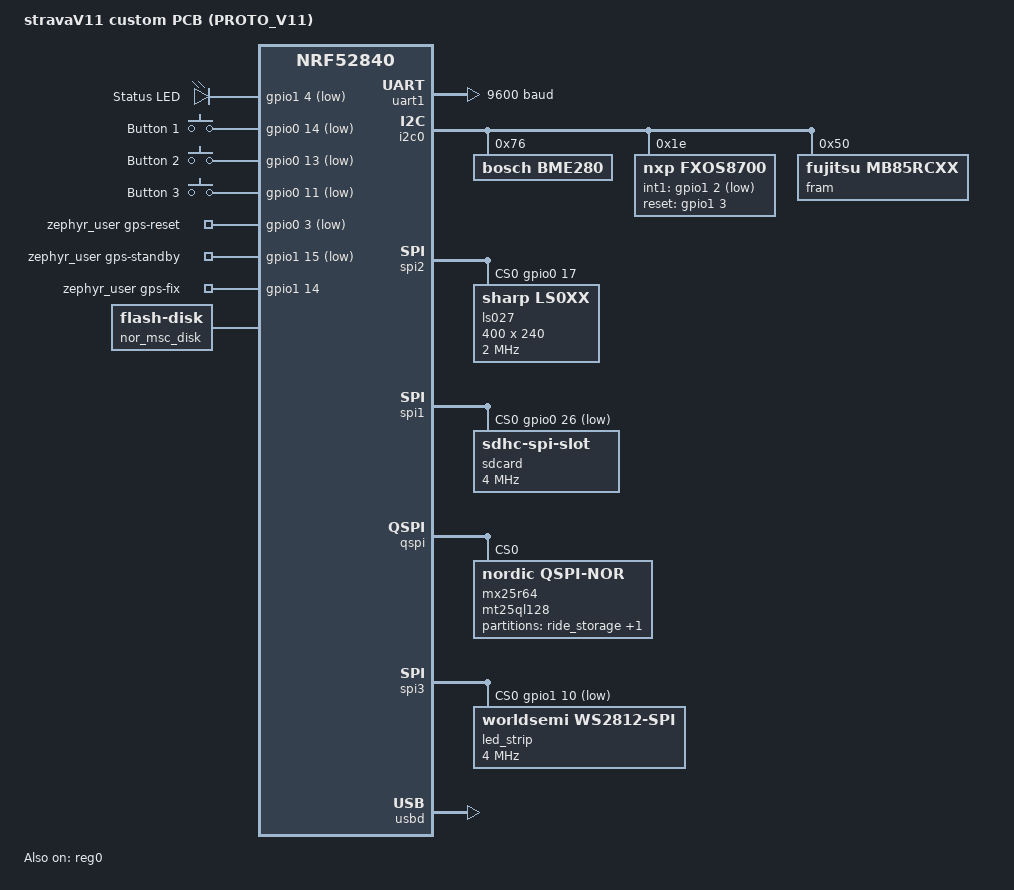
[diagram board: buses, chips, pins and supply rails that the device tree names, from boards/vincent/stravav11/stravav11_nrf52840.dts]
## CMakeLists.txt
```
cmake_minimum_required(VERSION 3.20.0)

# Phase 11: the real custom PCB's board definition lives under boards/ in
# this app (boards/vincent/stravav11/) -- add it to BOARD_ROOT so
# `-b stravav11/nrf52840` resolves, alongside the built-in nrf52840dk board
# still used for DK bring-up.
list(APPEND BOARD_ROOT ${CMAKE_CURRENT_SOURCE_DIR})

# sdk-ant is a license-gated vendor SDK, not in our west manifest -- see
# stravaV11_ant/CMakeLists.txt and CLAUDE.md for why ZEPHYR_EXTRA_MODULES
# rather than a manifest import. Registering the module costs nothing by
# itself (module Kconfig/CMake glue, not the stack); ANT_ENABLED below is
# what actually decides whether any of it links in.
list(APPEND ZEPHYR_EXTRA_MODULES ${CMAKE_CURRENT_SOURCE_DIR}/../ant)

# ANT+ feature toggle (2026-09-11): measured (see git log for the exact
# per-file breakdown) at ~50KB of flash -- sdk-ant's own precompiled stack
# (modules/ant's libant.a) alone is ~34KB of that, plus this app's
# ant_demo/hrm_demo/bsc_demo/fec_demo/ant_dm_demo and the ANT+ profile
# libraries. Real headroom worth making optional the same way
# STRAVA_SEGMENTS_ENABLED already is below, for exactly the same reason:
# this board's flash partition margin is thin enough that a single build
# needing more room (a debug feature, a future Lezyne addition) can need
# to trade it against ANT+ rather than trim core app code. Defaults OFF
# -- this does NOT reverse CLAUDE.md's project-wide "ANT+ is kept, not
# dropped for BLE-only" decision, which is about the project's shipped
# firmware; this is a per-build toggle for when flash headroom matters
# more than having ANT+ in that particular build. Pass -DANT_ENABLED=ON
# to build ANT+/HRM/BSC/FEC/the ANT+ device-manager back in.
option(ANT_ENABLED "Compile in ANT+ (ant_demo/hrm_demo/bsc_demo/fec_demo/ant_dm_demo, and sdk-ant's own precompiled stack)" OFF)

if(ANT_ENABLED)
  # Real ANT+ license key: sdk-ant reads it as the Kconfig string
  # CONFIG_ANT_LICENSE_KEY (ant/init/ant_init.c's ant_stack_init() call), not
  # from a header define -- so the repo-root ANT_license.h (gitignored,
  # credential-like material -- see .gitignore) can't be #included anywhere
  # to take effect. Instead, extract the key string from it here and hand it
  # to Kconfig via a generated fragment on EXTRA_CONF_FILE, which must be set
  # before find_package(Zephyr) below. If the header is missing, this
  # fragment's own CONFIG_ANT_EVALUATION_KEY=y fallback applies instead --
  # so a checkout without the user's personal key still builds ANT+ in,
  # just against the public evaluation key. CONFIG_ANT itself (and its
  # HRM/BSC/KEY_MANAGER/SEARCH_CONFIG/CHANNEL_CONFIG dependents, formerly
  # plain prj.conf lines) lives in this same generated fragment now, since
  # they only make sense to set at all when ANT_ENABLED.
  set(ant_kconfig_conf ${CMAKE_BINARY_DIR}/ant_enabled_generated.conf)
  file(WRITE ${ant_kconfig_conf}
    "CONFIG_ANT=y\n"
    "CONFIG_ANT_CHANNEL_CONFIG=y\n"
    "CONFIG_ANT_HRM=y\n"
    "CONFIG_ANT_BSC=y\n"
    "CONFIG_ANT_KEY_MANAGER=y\n"
    "CONFIG_ANT_SEARCH_CONFIG=y\n")

  set(ant_license_header ${CMAKE_CURRENT_SOURCE_DIR}/../../ANT_license.h)
  if(EXISTS ${ant_license_header})
    file(READ ${ant_license_header} ant_license_header_contents)
    string(REGEX MATCH "ANT_LICENSE_KEY[ \t]+\"([^\"]+)\"" _ "${ant_license_header_contents}")
    if(CMAKE_MATCH_1)
      file(APPEND ${ant_kconfig_conf} "CONFIG_ANT_LICENSE_KEY=\"${CMAKE_MATCH_1}\"\n")
    else()
      message(WARNING "ANT_license.h found but no ANT_LICENSE_KEY \"...\" define in it -- falling back to the ANT_EVALUATION_KEY default")
      file(APPEND ${ant_kconfig_conf} "CONFIG_ANT_EVALUATION_KEY=y\n")
    endif()
  else()
    message(WARNING "ANT_license.h not found at repo root -- falling back to the ANT_EVALUATION_KEY default (non-commercial use only)")
    file(APPEND ${ant_kconfig_conf} "CONFIG_ANT_EVALUATION_KEY=y\n")
  endif()

  set(EXTRA_CONF_FILE ${ant_kconfig_conf})
endif()

find_package(Zephyr REQUIRED HINTS $ENV{ZEPHYR_BASE})
project(stravav11_fw)

if(ANT_ENABLED)
  add_definitions(-DANT_ENABLED)
endif()

# Segments/live-race feature (2026-09-11): live-segment racing was already
# descoped by user decision (2026-09-07, see CLAUDE.md's port-plan
# paragraph) -- SegmentManager.cpp/segMngr never gets populated with real
# data anywhere in this port, so its actual runtime behavior is unaffected
# either way. This option makes that descoping compile-time-real instead of
# just "not pursued yet": OFF drops Segment.cpp/SegmentManager.cpp entirely
# and compiles out every segment-drawing method in VueCRS/VuePRC (see
# STRAVA_SEGMENTS_ENABLED's #ifdef guards there and in vue_globals.cpp) --
# real flash savings when a build is tight on space (see
# pm_static_stravav11_nrf52840.yml's own notes on this board's thin margin),
# not just dead-code-eliminated already by the linker (VueCRS/VuePRC's
# segment methods are reachable via `this->afficheSegment(...)` from other
# member functions of the same class, so --gc-sections can't drop them on
# its own the way it drops a genuinely uncalled free function). Defaults
# OFF (2026-09-11, changed from an initial ON default the same day) --
# this feature is already descoped project-wide, and building it out by
# default is exactly what unblocks the Lezyne feature's flash budget (see
# CLAUDE.md's own note) without needing every build invocation to
# remember the flag. Pass -DSTRAVA_SEGMENTS_ENABLED=ON to build it back in.
option(STRAVA_SEGMENTS_ENABLED "Compile in the segments/live-race feature (Segment geometry, SegmentManager, VueCRS/VuePRC segment screens)" OFF)
if(STRAVA_SEGMENTS_ENABLED)
  add_definitions(-DSTRAVA_SEGMENTS_ENABLED)
endif()

# Phase 7: AdafruitGFX/WString reuse the same -DTDD bridge as stravaV11_app
# (see that app's CMakeLists.txt) -- their #ifndef TDD branches use
# AVR-only builtins (__isnanf etc.) that don't exist on this toolchain.
add_definitions(-DTDD)

target_include_directories(app PRIVATE
  lib
  lib/TDD
  lib/TDD/nordic
  lib/TDD/scheduler
  lib/libraries/AdafruitGFX
  lib/libraries/AdafruitGFX/Fonts
  lib/libraries/utils
  lib/libraries/TinyGPSPlus
  lib/source
  lib/source/model
  lib/source/sensors
  lib/source/vue
  lib/source/maps
  lib/source/display
  lib/source/parsers
  lib/source/routes
  lib/libraries/komoot
  lib/libraries/fitLib
  lib/lezyne
  adapters
)

target_sources(app PRIVATE
  src/main.c
  src/ble_demo.c
  src/stc3100_demo.c
  src/smp_demo.c
  src/gfx_demo.cpp
  src/gps_demo.cpp
  src/sensor_screen_demo.c
  src/task_demo.c
  src/power_demo.c
  src/poll_demo.c
  src/usbd_init.c
  src/usb_demo.c
  src/cmd_console.c
  src/sd_format.c
  src/map_demo.c
  src/map_screen_demo.c
  src/sd_stress_demo.c
  src/notifications_demo.c
  src/settings_demo.cpp
  src/model_glue.c
  src/vue_globals.cpp
  src/vue_demo.cpp
  lib/source/vue/MenuObjects.cpp
  lib/source/vue/Menuable.cpp
  lib/source/vue/Screenutils.cpp
  lib/source/vue/VueDebug.cpp
  lib/source/vue/VueLap.cpp
  lib/source/vue/VueGPS.cpp
  lib/source/vue/VueFEC.cpp
  lib/source/vue/VuePRC.cpp
  lib/source/vue/VueCRS.cpp
  lib/source/vue/Vue.cpp
  lib/libraries/komoot/komoot_nav.c
  lib/source/routes/Points.cpp
  lib/source/routes/Vecteur.cpp
  lib/source/routes/ListePoints.cpp
  lib/source/routes/Parcours.cpp
  src/menu_content.cpp
  src/debug_screen_data.cpp
  src/lap_screen_data.cpp
  src/power_provider.c
  src/hrm_provider.c
  src/cadence_provider.c
  lib/source/g_structs.c
  lib/source/model/PowerZone.cpp
  lib/source/model/RRZone.cpp
  lib/source/model/SufferScore.cpp
  lib/bt_cp_client.c
  lib/ant_device_manager.c
  lib/stc3100.c
  lib/source/maps/map_tile.c
  lib/source/maps/map_render.cpp
  lib/source/display/Zoom.cpp
  lib/source/display/notifications.c
  lib/libraries/AdafruitGFX/Adafruit_GFX.cpp
  lib/libraries/AdafruitGFX/Print.cpp
  lib/libraries/utils/WString.cpp
  lib/libraries/utils/utils.c
  lib/libraries/TinyGPSPlus/TinyGPS++.cpp
  lib/source/model/Locator.cpp
  lib/source/model/UserSettings.cpp
  lib/source/vue/ZephyrGFX.cpp
  adapters/gps_mgmt_stub.cpp
  adapters/millis_zephyr.c
  adapters/drv_ws2812.c
  adapters/fram_zephyr.c
  lib/libraries/fitLib/fit.c
  lib/libraries/fitLib/fit_crc.c
  lib/libraries/fitLib/fit_example.c
  src/ride_recorder.c
  src/lezyne_ble.c
  src/lezyne_handler.c
  src/gps_sim_demo.c
  src/gps_uart_demo.c
)

if(STRAVA_SEGMENTS_ENABLED)
  target_sources(app PRIVATE
    lib/source/routes/Segment.cpp
    lib/source/display/SegmentManager.cpp
  )
endif()

if(ANT_ENABLED)
  target_sources(app PRIVATE
    src/ant_demo.c
    src/hrm_demo.c
    src/bsc_demo.c
    src/fec_demo.c
    src/ant_dm_demo.c
    lib/ant_fec.c
  )
else()
  # model_glue.c/ride_recorder.c/menu_content.cpp call into
  # hrm_demo.h/bsc_demo.h/fec_demo.h/ant_dm_demo.h's API unconditionally
  # (they're the live-sensor-data bridge, not ANT+-demo-specific code) --
  # this provides those symbols with real ANT+ compiled out. See its own
  # top comment.
  target_sources(app PRIVATE src/ant_stubs.c)
endif()
```

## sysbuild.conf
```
# Phase 10: replaces stravaV10's dfu/ (a full nRF5 SDK "secure DFU
# bootloader" -- nrf_bootloader/nrf_dfu, MBR-based, USB-triggered by
# holding a button at power-on) with MCUboot, the standard cross-vendor
# Zephyr/NCS bootloader already checked out in this workspace at
# bootloader/mcuboot.
#
# This is mainline Zephyr's own sysbuild MCUboot integration
# (zephyr/share/sysbuild/images/bootloader/Kconfig), not NCS's older
# Partition Manager-based path -- it uses devicetree fixed-partitions for
# the slot layout, so it doesn't hit the PM/flash-disk affiliation issue
# from Phase 4 (that was specific to disk_access's flashdisk driver, not
# to boot partitioning, which is a different and well-supported PM/DT use
# case either way).
SB_CONFIG_BOOTLOADER_MCUBOOT=y

# Project-owned signing key, not MCUboot's own upstream sample key
# (bootloader/mcuboot/root-ec-p256.pem, the default this repo built
# against through the first real DFU validation in Phase 10). That
# sample key's *private* half is checked into the public mcuboot repo --
# fine to prove the DFU mechanics work, but it means anyone could sign an
# image this board's MCUboot would accept as genuine. Generated once via:
#   python3 bootloader/mcuboot/scripts/imgtool.py keygen \
#     -k /home/vincent/Github/StravaV11/mcuboot_signing_key.pem -t ecdsa-p256
# Gitignored at the repo root -- see .gitignore's comment there and
# COMMANDS.md's "Signing key" section for regeneration/rotation notes.
# BOOT_SIGNATURE_TYPE defaults to ECDSA_P256 already (matches this key).
SB_CONFIG_BOOT_SIGNATURE_KEY_FILE="/home/vincent/Github/StravaV11/mcuboot_signing_key.pem"
```

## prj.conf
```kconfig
# Phase 2: DK driver bring-up. GPIO is on by default; this app also needs:
CONFIG_DISPLAY=y
CONFIG_I2C=y
CONFIG_LOG=y

# Phase 3: sensors (bme280, fxos8700) and FRAM-equivalent settings storage.
CONFIG_SENSOR=y
CONFIG_EEPROM=y

# Phase 4: storage. SD-over-SPI disk_access (no card present, see overlay)
# and the DK's real on-board QSPI NOR flash via the direct flash API (see
# CLAUDE.md for why this isn't layered under disk_access/FAT here).
CONFIG_DISK_ACCESS=y
CONFIG_FLASH=y

# Phase 11 validation: flash_read_jedec_id() (to confirm the real external
# NOR chip's identity) is gated behind this -- nrf_qspi_nor.c's
# read_jedec_id API entry only compiles in with CONFIG_FLASH_JESD216_API=y.
CONFIG_FLASH_JESD216_API=y

# Maps-feasibility step 1 (docs/maps_feasibility.md): FAT filesystem on the
# SD card, not just raw disk_access sectors. CONFIG_FS_FATFS_MOUNT_MKFS
# (Kconfig default y) means fs_mount() auto-formats a card with no
# existing FAT filesystem instead of just failing.
CONFIG_FILE_SYSTEM=y
CONFIG_FAT_FILESYSTEM_ELM=y

# sd_format.c's deliberate "FORMAT SD" command calls fs_mkfs() directly
# (distinct from the CONFIG_FS_FATFS_MOUNT_MKFS auto-format-on-invalid-
# boot-sector behavior above) -- fs_mkfs() itself is gated behind this
# separate Kconfig, off by default.
CONFIG_FILE_SYSTEM_MKFS=y

# Long filenames: 8.3-only tripped up the first version of this test (see
# CLAUDE.md -- fs_open() on an 11-char name failed with FR_INVALID_NAME,
# translated to -ENOENT, not an obvious length error). Future map-tile
# filenames don't need to be 8.3-constrained now. Default LFN mode (BSS,
# static working buffer) is fine -- this app has no concurrent FS access
# from multiple threads yet, so the "not thread-safe" caveat doesn't apply.
CONFIG_FS_FATFS_LFN=y

# Phase 5: BLE central (Cycling Power Service client), no pairing/bonding
# needed -- cycling power meters are normally open GATT servers.
CONFIG_BT=y
CONFIG_BT_CENTRAL=y
CONFIG_BT_GATT_CLIENT=y
CONFIG_BT_SCAN=y
CONFIG_BT_SCAN_FILTER_ENABLE=y
# 2 filters now: Cycling Power Service (bt_cp_client) and Heart Rate Service
# (bt_hrs_client, below) -- was 1 when only CPS existed.
CONFIG_BT_SCAN_UUID_CNT=2
CONFIG_BT_GATT_DM=y
CONFIG_BT_DEVICE_NAME="stravaV11"

# Heart Rate Service client: unlike Cycling Power (no ready-made NCS
# library, hence the hand-written bt_cp_client), NCS ships bt_hrs_client
# directly (nrf/subsys/bluetooth/services/hrs_client.c) -- modeled on the
# exact same nrf/samples/bluetooth/central_and_peripheral_hrs sample
# bt_cp_client itself followed, so no porting needed here at all, just
# enabling and wiring up in ble_demo.c. Validates the real HRM strap's BLE
# side (it broadcasts both ANT+ and BLE) alongside hrm_demo.c's ANT+ path.
CONFIG_BT_HRS_CLIENT=y

# MCUmgr/SMP over BLE: a real DFU update cycle (MCUboot itself has booted the
# signed app correctly since Phase 10, but no actual over-the-air update was
# ever attempted until now). Following the closest upstream reference,
# zephyr/samples/subsys/mgmt/mcumgr/smp_svr's prj.conf + its overlay-bt.conf,
# trimmed to just the core img/os groups this port's smp_demo.c actually
# needs (that sample's overlay-bt.conf also enables a shell transport,
# LittleFS, stats, and a storage-erase command none of which are wanted
# here). CONFIG_BT_PERIPHERAL is new -- this device has been BLE-central-only
# since Phase 5 (scanning for CP/HRS peripherals); MCUmgr's BT transport
# needs the peripheral role too (advertise + accept an inbound connection
# from the mcumgr host), which is why ble_demo.c's connected() callback
# needed a role check added (see its own comment) -- without it, an inbound
# SMP client connection would have wrongly run the central-role GATT
# discovery-manager logic meant for OUR OWN outbound connections to CP/HRS
# peripherals.
CONFIG_NET_BUF=y
CONFIG_ZCBOR=y
CONFIG_CRC=y
CONFIG_MCUMGR=y
CONFIG_STREAM_FLASH=y
CONFIG_FLASH_MAP=y
CONFIG_FLASH=y
CONFIG_IMG_MANAGER=y
CONFIG_MCUMGR_GRP_IMG=y
CONFIG_MCUMGR_GRP_OS=y
CONFIG_SYSTEM_WORKQUEUE_STACK_SIZE=2304
CONFIG_MAIN_STACK_SIZE=2176

CONFIG_BT_PERIPHERAL=y
CONFIG_BT_L2CAP_TX_MTU=498
CONFIG_BT_BUF_ACL_RX_SIZE=502
CONFIG_BT_BUF_ACL_TX_SIZE=502
CONFIG_BT_CTLR_DATA_LENGTH_MAX=251
CONFIG_MCUMGR_TRANSPORT_BT=y
CONFIG_MCUMGR_TRANSPORT_BT_CONN_PARAM_CONTROL=y

# Found on real hardware: without this, an actual image upload (large,
# multi-fragment SMP requests, unlike the tiny echo/image-list requests
# that worked fine without it) never got a response from the firmware.
# smp_svr's overlay-bt.conf enables this by default; trimmed out of this
# port's initial minimal subset, which was wrong -- upload needs it.
CONFIG_MCUMGR_TRANSPORT_BT_REASSEMBLY=y
CONFIG_MCUMGR_TRANSPORT_NETBUF_SIZE=2475
CONFIG_MCUMGR_TRANSPORT_WORKQUEUE_STACK_SIZE=4608

# Found on real hardware: even with smp_demo.c's BT_LE_ADV_OPT_USE_IDENTITY,
# bt_le_adv_start() still failed with -EACCES (err -13) while the existing
# central-role scan (ble_demo.c) was active. Root cause, traced into
# zephyr/subsys/bluetooth/host/id.c: with CONFIG_BT_PRIVACY off (this
# project's default) and this symbol unset, Zephyr's own bt_id_set_scan_own_addr()
# has the scanner generate and use an ephemeral NRPA, not the device's
# identity address -- so when the advertiser (asking for the identity
# address via USE_IDENTITY) tries to set the random address, it doesn't
# match the scanner's currently-set NRPA, and the Bluetooth Core Spec
# forbids the "LE Set Random Address" HCI command entirely while scanning
# is active (Vol 4, Part E 7.8.4), regardless of the value being set.
# Making the scanner ALSO use the identity address means both roles want
# the exact same value, so whichever starts second hits Zephyr's own
# already-set-to-this-value early return instead of issuing that HCI
# command at all -- no actual identity/privacy trade-off for this project,
# since CONFIG_BT_PRIVACY was already off.
CONFIG_BT_SCAN_WITH_IDENTITY=y

# Lezyne feature (2026-09-11, see CLAUDE.md/todo.md): a THIRD concurrent BLE
# role -- peripheral, advertising as "LE GPS 12" (not CONFIG_BT_DEVICE_NAME)
# so the real Lezyne "GPS Ally" phone app can find it. lezyne_ble.c defines
# its own hand-rolled GATT service using the REAL Lezyne service/
# characteristic UUIDs (decompiled from the real GPS Ally app -- see
# Lezyne_app.md/LezyneCycleComputerDevice.txt at the repo root) instead of
# Zephyr's canned NUS service; an earlier version used NUS as an unverified
# guess at the real transport, and GPS Ally's own onServicesDiscovered()
# disconnects immediately if it doesn't find that exact service UUID, so
# CONFIG_BT_NUS is no longer needed here. lezyne_ble.c owns the device's
# one shared legacy advertiser (folded in smp_demo.c's own advertising
# too, see that file's comment -- a first version tried a second,
# independent CONFIG_BT_EXT_ADV advertising set instead, which measurably
# overflowed this board's thin flash partition margin on real hardware).
# CONFIG_BT_MAX_CONN bumped from the default 1 to 2: one central connection
# (ble_demo.c, to a CP/HRS sensor) and one peripheral connection (this
# file's shared advertiser -- either a Lezyne phone or an mcumgr/SMP DFU
# host, never both at once since there's only one inbound peripheral
# connection tracked).
CONFIG_BT_MAX_CONN=2

# Found on real hardware (2026-09-11): a real GPS Ally connection sent a
# RequestFitFileList command right after connecting, and the board
# stack-overflowed and halted (ZEPHYR FATAL ERROR 2, MPU FAULT) about a
# second later -- lezyne_handler.c's handle_file_list() (fs_mount +
# fs_opendir/fs_readdir over FatFS, and handle_file_download_start()/
# handle_file_delete() do similar work) ran synchronously inside
# lez_write_rx()'s GATT write callback, i.e. Zephyr's own
# CONFIG_BT_RX_STACK_SIZE thread (default 1200 bytes -- nowhere near
# enough). First fix here was bumping this to 4096, which stopped that
# exact crash, but a second real-hardware session then showed symptoms
# consistent with a stack overflow elsewhere (spurious usbd_ch9 log
# lines and an unrelated central-role BLE disconnect, right after
# another Lezyne SD operation, no real USB host action to explain them)
# -- 4096 being "enough" was never actually verified against the true
# worst case, and this thread is shared with every other Bluetooth host
# callback (central-role scanning included), the wrong place to gamble.
# lezyne_handler.c now moves all of that work onto its own dedicated
# thread with its own stack instead (see its LEZ_CMD_STACK_SIZE comment),
# so this can safely go back to Zephyr's own default -- left unset
# (rather than kept bumped "just in case") because both flash and RAM
# are tight enough here that free insurance isn't actually free.

# Phase 5: ANT+ combined with the above BLE config -- the documented
# multiprotocol path (nrf/samples equivalent: ant/samples/ble_ant_app_hrm).
# Both sit on MPSL; whichever of ant_init()/bt_enable() runs first brings
# MPSL up for the other, matching that sample's init order (ant_init()
# before bt_enable() in main.c) -- no CONFIG_ANT_SDC_INIT needed. When
# ANT+ is compiled out (ANT_ENABLED=OFF, the CMakeLists.txt default as of
# 2026-09-11 -- see its own comment for the ~50KB flash motivation),
# bt_enable() alone brings MPSL up fine, the normal case for any BT-only
# build.
#
# CONFIG_ANT/CONFIG_ANT_CHANNEL_CONFIG/CONFIG_ANT_EVALUATION_KEY/
# CONFIG_ANT_HRM/CONFIG_ANT_BSC/CONFIG_ANT_KEY_MANAGER/
# CONFIG_ANT_SEARCH_CONFIG used to be plain lines here; they only make
# sense to set when ANT_ENABLED, so CMakeLists.txt now generates them
# into an EXTRA_CONF_FILE fragment instead (also where the real
# ANT_license.h key substitution already happened).

# Phase 7: UI graphics (Adafruit_GFX ported to draw into ZephyrGFX's buffer,
# pushed via display_write()). No STL containers used here, but the TDD
# wrapper headers it drags in (segger_wrapper_tdd.h) need <cstdio>, which
# Zephyr's minimal C++ lib (-nostdinc++) doesn't provide -- same fix as
# stravaV11_app.
CONFIG_CPP=y
CONFIG_STD_CPP17=y
CONFIG_REQUIRES_FULL_LIBCPP=y

# Phase 8: task_manager -> Zephyr threads + k_event replacement.
CONFIG_EVENTS=y

# WS2812 status LED (stravaV10's drivers/drv_ws2812.c + notifications.c,
# see the board devicetree's spi3/ws2812 nodes for why this is SPI-backed
# rather than PWM -- Zephyr has no PWM WS2812 driver).
CONFIG_SPI=y
CONFIG_LED_STRIP=y

# Phase 9: USB CDC-ACM (new USB device stack). Doesn't touch the existing
# UART console (still the J-Link VCOM) -- this is a second, independent
# serial port over the DK's own USB peripheral.
CONFIG_USB_DEVICE_STACK_NEXT=y
CONFIG_USBD_CDC_ACM_CLASS=y
CONFIG_SERIAL=y
CONFIG_UART_LINE_CTRL=y

# USB Mass Storage: exposes the SD card (disk_access name "SD", already
# validated by sd_fat_demo()/map_screen_demo/sd_stress_demo) as a normal USB
# drive, composited alongside the CDC-ACM port above.
CONFIG_USBD_MSC_CLASS=y
# 2 LUNs: SD (above) and the raw QSPI NOR disk below.
CONFIG_USBD_MSC_LUNS_PER_INSTANCE=2
# Default (512) is smaller than NOR's 4096-byte sector size --
# usbd_msc_scsi.c's update_disk_info() silently rejects any LUN whose
# sector_size exceeds this (status = -ENOMEM), which every SCSI
# TEST_UNIT_READY/READ_CAPACITY call then reports to the host as "medium
# not present" -- confirmed on real hardware as a real, zero-byte "Raw NOR
# Flash" drive (lsblk: 0B) despite disk_access itself reporting the
# correct 16777216-byte size the whole time. This buffer is shared across
# all LUNs on the one MSC instance (SD's 512-byte sectors fit fine either
# way), so raising it doesn't need a per-LUN config.
CONFIG_USBD_MSC_SCSI_BUFFER_SIZE=4096

# QSPI NOR as a second, unformatted MSC LUN (closes the Phase 4 gap --
# raw data, not a filesystem, so no CONFIG_FILE_SYSTEM/FAT layered on top
# unlike the SD card). Needs the "nordic,pm-ext-flash" chosen entry +
# pm_static_<board>.yml partition (region: external_flash, affiliation:
# disk) -- see boards/*/*.dts|overlay and pm_static_*.yml for the full
# story of why both pieces are required together.
CONFIG_DISK_DRIVER_FLASH=y

# LS0XX driver software-VCOM thread priority is fine at its Kconfig default.
```

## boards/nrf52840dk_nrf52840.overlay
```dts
/*
 * Phase 2 DK bring-up wiring: the LS027 isn't attached to this DK (see
 * CLAUDE.md) -- this puts it on the Arduino-header SPI bus (spi3) at
 * arbitrary pins, purely so the sharp,ls0xx driver + display subsystem
 * builds, initializes, and runs its SPI transactions without error. Real
 * pin assignments come back when the custom PCB's own board definition is
 * written (a later phase); nothing here should be read as the final wiring.
 *
 * No VCOM-related properties: on the real PCB, VCOM is toggled by a
 * hardware circuit, not software at all (confirmed with the user during
 * Phase 11) -- ls0xx.c gates all of its VCOM-toggling code behind
 * DT_INST_NODE_HAS_PROP(0, extcomin_gpios), so omitting both that and
 * serial-vcom-inversion (which also doesn't exist in the driver's
 * devicetree binding at the sdk-nrf v3.2.4 this workspace is now pinned
 * to -- see CLAUDE.md Phase 11) means the driver only ever does plain SPI
 * content writes here, matching the real board's node.
 */

#include <zephyr/dt-bindings/gpio/arduino-header-r3.h>
#include <zephyr/dt-bindings/led/led.h>

/ {
	chosen {
		zephyr,display = &ls027;
		/* Tells Partition Manager mx25r64 is a valid "external_flash"
		 * region -- see the raw-NOR-disk note further down, near the
		 * mx25r64 node itself. */
		nordic,pm-ext-flash = &mx25r64;
	};
};

/*
 * Phase 9: USB CDC-ACM. Unlike everything else in this file, &zephyr_udc0
 * is the chip's own on-die USB peripheral (already enabled by the DK's
 * default devicetree) -- real hardware, not a placeholder. Whether it's
 * actually host-visible depends on a physical USB cable being plugged into
 * the DK's own USB connector (separate from the J-Link USB used for
 * flashing/console), which is outside what this session could do itself.
 */
&zephyr_udc0 {
	cdc_acm_uart0: cdc_acm_uart0 {
		compatible = "zephyr,cdc-acm-uart";
		label = "stravaV11 CDC-ACM";
	};
};

&arduino_spi {
	status = "okay";
	/* index 0 -> ls027 (D10), index 1 -> SD card (D9), index 2 -> WS2812
	 * status LED (D8) -- all placeholder pins except the WS2812 CS,
	 * which is placeholder by design even on the real board (see the
	 * spi3/ws2812 note in the custom board's own .dts: the LED only
	 * reads MOSI, CS is never actually wired to it there either). See
	 * the Phase 4 storage note further down for ls027/SD. */
	cs-gpios = <&arduino_header ARDUINO_HEADER_R3_D10 GPIO_ACTIVE_HIGH>,
		   <&arduino_header ARDUINO_HEADER_R3_D9 GPIO_ACTIVE_LOW>,
		   <&arduino_header ARDUINO_HEADER_R3_D8 GPIO_ACTIVE_LOW>;

	ls027: ls0xx@0 {
		compatible = "sharp,ls0xx";
		reg = <0>;
		spi-max-frequency = <2000000>;
		width = <400>;
		height = <240>;
	};

	/*
	 * Phase 4 storage, SD card half: stravaV10 talks to a real SD card
	 * over SPI (source/sd/diskio_sdc.c, the old nRF5 SDK's
	 * nrf_block_dev_sdc component). No card or slot is physically
	 * present on this DK, so -- same as the display -- this only proves
	 * the zephyr,sdhc-spi-slot driver initializes and reports a clean
	 * error rather than hanging; it can't be validated further until a
	 * card is actually inserted.
	 */
	sdcard: sdhc@1 {
		compatible = "zephyr,sdhc-spi-slot";
		reg = <1>;
		status = "okay";
		spi-max-frequency = <4000000>;

		sdmmc {
			compatible = "zephyr,sdmmc-disk";
			disk-name = "SD";
			status = "okay";
		};
	};

	/* WS2812 status LED (NEO_PIN on the real board) -- see
	 * stravaV11_fw/adapters/drv_ws2812.c and lib/source/display/
	 * notifications.c. Same spi-one-frame/spi-zero-frame/
	 * spi-max-frequency/color-mapping as the custom board's own node;
	 * this DK placeholder exists purely so the shared notifications_demo.c
	 * builds and runs cleanly here too, not because a real LED is wired up. */
	led_strip: ws2812@2 {
		compatible = "worldsemi,ws2812-spi";
		reg = <2>;
		spi-max-frequency = <4000000>;

		chain-length = <1>;
		color-mapping = <LED_COLOR_ID_GREEN LED_COLOR_ID_RED LED_COLOR_ID_BLUE>;
		spi-one-frame = <0x70>;
		spi-zero-frame = <0x40>;
	};
};

/ {
	aliases {
		led-strip = &led_strip;
	};
};

/*
 * Phase 6 GPS bring-up: stravaV10 talks to the GlobalTop GPS module over a
 * dedicated UART (source/sensors/GPSMGMT.cpp), starting at 9600 baud
 * (GPS_DEFAULT_SPEED_BAUD) before switching to 115200. arduino_serial
 * (uart1) is disabled by default on this DK (unlike arduino_i2c/spi), so it
 * needs enabling here. No GPS module is attached -- same placeholder
 * caveat as the rest of this file; this only proves the UART peripheral
 * itself works (TX completes, RX doesn't hang). GPS_R/GPS_S/FIX_PIN
 * (reset/standby/fix-detect GPIOs) aren't wired up yet -- deferred with the
 * rest of GPSMGMT's hardware layer, same reasoning as Model.cpp in Phase 1.
 */
&arduino_serial {
	status = "okay";
	current-speed = <9600>;
};

/*
 * Phase 3 sensor bring-up, same caveat as above: nothing is physically
 * attached to this DK, so these addresses/wiring are placeholders (matching
 * stravaV10's actual addresses, which is all that matters for now) purely so
 * each driver builds and its init path runs cleanly against a real I2C
 * controller. arduino_i2c (i2c0) is already enabled by the DK's own default
 * devicetree -- see stravaV11_fw/prj.conf and CLAUDE.md.
 */
&arduino_i2c {
	bme280: bme280@76 {
		/* Active barometer per stravaV10's parameters.h (BARO_TYPE
		 * bme280); same 0x76 address as ms5637.c uses -- the two are
		 * alternate BOM options, never populated together. */
		compatible = "bosch,bme280";
		reg = <0x76>;
	};

	fxos8700: fxos8700@1e {
		compatible = "nxp,fxos8700";
		reg = <0x1e>;
	};

	fram: mb85rc@50 {
		/* Matches stravaV10's source/sensors/fram.c addressing
		 * exactly: base address 0x50 with the top address bits
		 * folded into the low bits of the 7-bit I2C address --
		 * that's what address-width = 8 (bits) + size = 2048
		 * (2^11 addressable bytes) reproduces in this driver. */
		compatible = "fujitsu,mb85rcxx";
		reg = <0x50>;
		size = <2048>;
		address-width = <8>;
	};
};

/*
 * Phase 4 storage, QSPI flash half: unlike everything above, this DK has a
 * *real* on-board QSPI NOR flash chip (MX25R6435F, 64Mbit), already wired up
 * and enabled by the DK's own default devicetree (&qspi / mx25r64 in
 * nrf52840dk_nrf52840.dts) -- no overlay needed to reach it. stravaV10's own
 * external flash is a different chip (MT25QL128 over QSPI,
 * libraries/SST/mt25.c) but the same JEDEC SPI-NOR protocol family, so
 * exercising this one via the plain Zephyr flash API (see storage_demo() in
 * main.c) is a real, hardware-validated stand-in for that storage path.
 *
 * Originally tried layering a zephyr,flash-disk + FAT filesystem on top (to
 * mirror stravaV10's actual FatFs usage), same as the fs_sample sample does
 * for internal flash. That hit an NCS-specific wall: this workspace's
 * Partition Manager is unconditionally active for any app built here (its
 * Kconfig is described as "read-only, do not change" -- it isn't a toggle),
 * and flashdisk.c's build only works for partitions PM itself allocated and
 * tagged with "disk" affiliation metadata; a hand-written devicetree
 * fixed-partitions node isn't visible to that scan. Direct flash_erase/
 * write/read against mx25r64 sidesteps flashdisk.c entirely and still
 * proves the chip works -- kept below, unchanged.
 *
 * Resolved (raw-NOR-over-USB update): the chip holds raw data, not a
 * filesystem, so this exposes it as a second, unformatted USB MSC LUN
 * instead (see usb_demo.c) -- real fix needed *two* pieces together, not
 * the pm_static.yml alone: the "nordic,pm-ext-flash" chosen entry above
 * (so PM treats mx25r64 as an "external_flash" region at all) and the
 * pm_static_nrf52840dk_nrf52840.yml partition (region: external_flash,
 * affiliation: disk) that supplies the name, cache_size, sector_size and
 * read_only extra_params flashdisk.c's PM-affiliation code path reads.
 *
 * What that path does NOT get from pm_static.yml, despite being in the
 * "PM" branch: offset/size/area-id. Those come from
 * FIXED_PARTITION_OFFSET/SIZE/ID(n), which -- confirmed by reading
 * flash_map.h -- expand to DT_REG_ADDR/SIZE(DT_NODELABEL(n)), i.e. a
 * plain devicetree lookup, always, regardless of Partition Manager. `n`
 * is the affiliation macro's own uppercased partition-name token
 * (PM_FOREACH_AFFILIATED_TO_disk(fn) = fn(EXTERNAL_FLASH_DISK), confirmed
 * in the build's pm.config) -- so this devicetree node's *label* must be
 * that exact uppercase token for FIXED_PARTITION_SIZE to resolve at all.
 * First attempt used an arbitrary lowercase label + a tiny 0x1000
 * placeholder reg (reasoning: "PM supplies the real numbers") and built
 * clean but silently produced a real, zero-byte USB disk on real
 * hardware (lsblk: "0B") -- DT_NODELABEL of a non-matching label doesn't
 * error, it just resolves to nothing and DT_REG_SIZE of that is 0. Fixed
 * by matching both the label and the reg range to the pm_static.yml
 * partition exactly; the two must be kept in sync by hand since nothing
 * cross-checks them.
 */
&mx25r64 {
	partitions {
		compatible = "fixed-partitions";
		#address-cells = <1>;
		#size-cells = <1>;

		/* Label and reg MUST match pm_static_nrf52840dk_nrf52840.yml's
		 * external_flash_disk partition (address 0x0, size 0x800000)
		 * -- see the comment above for why. */
		EXTERNAL_FLASH_DISK: partition@0 {
			label = "external_flash_disk";
			reg = <0x0 0x800000>;
		};
	};
};

/ {
	nor_msc_disk: nor-msc-disk {
		compatible = "zephyr,flash-disk";
		partition = <&EXTERNAL_FLASH_DISK>;
		/* disk-name/cache-size here are unused (see comment above --
		 * flashdisk.c's PM-affiliation path takes the real disk name
		 * from pm_static.yml's extra_params.disk_name instead), kept
		 * only because the devicetree binding requires them. */
		disk-name = "NOR_DT_UNUSED";
		cache-size = <4096>;
	};
};
```

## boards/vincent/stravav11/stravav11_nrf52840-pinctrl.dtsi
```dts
/*
 * Phase 11: pin assignments taken directly from stravaV10's
 * custom_board_v3.h (the PROTO_V11 revision -- confirmed with the user as
 * the board actually connected). Unlike the nrf52840dk pinctrl this mirrors
 * the structure of, none of these pins are shared with any DK convention --
 * they're the real PCB traces.
 */

&pinctrl {
	i2c0_default: i2c0_default {
		group1 {
			/* SDA_PIN_NUMBER / SCL_PIN_NUMBER */
			psels = <NRF_PSEL(TWIM_SDA, 1, 0)>,
				<NRF_PSEL(TWIM_SCL, 1, 1)>;
		};
	};

	i2c0_sleep: i2c0_sleep {
		group1 {
			psels = <NRF_PSEL(TWIM_SDA, 1, 0)>,
				<NRF_PSEL(TWIM_SCL, 1, 1)>;
			low-power-enable;
		};
	};

	/* LS027 display -- LS027_SCK_PIN / LS027_MOSI_PIN. Write-only (no
	 * MISO): stravaV10's own ls027.c never reads from this bus either. */
	spi2_default: spi2_default {
		group1 {
			psels = <NRF_PSEL(SPIM_SCK, 0, 15)>,
				<NRF_PSEL(SPIM_MOSI, 0, 16)>;
		};
	};

	spi2_sleep: spi2_sleep {
		group1 {
			psels = <NRF_PSEL(SPIM_SCK, 0, 15)>,
				<NRF_PSEL(SPIM_MOSI, 0, 16)>;
			low-power-enable;
		};
	};

	/* SD card -- SDC_SCK_PIN / SDC_MOSI_PIN / SDC_MISO_PIN. */
	spi1_default: spi1_default {
		group1 {
			psels = <NRF_PSEL(SPIM_SCK, 0, 27)>,
				<NRF_PSEL(SPIM_MOSI, 0, 25)>,
				<NRF_PSEL(SPIM_MISO, 0, 28)>;
		};
	};

	spi1_sleep: spi1_sleep {
		group1 {
			psels = <NRF_PSEL(SPIM_SCK, 0, 27)>,
				<NRF_PSEL(SPIM_MOSI, 0, 25)>,
				<NRF_PSEL(SPIM_MISO, 0, 28)>;
			low-power-enable;
		};
	};

	/* External QSPI NOR (MT25QL128, libraries/SST/mt25.c) --
	 * QSPI_SCK/MOSI/MISO/IO2/IO3/SS_PIN. MOSI->IO0, MISO->IO1. */
	qspi_default: qspi_default {
		group1 {
			psels = <NRF_PSEL(QSPI_SCK, 0, 18)>,
				<NRF_PSEL(QSPI_IO0, 0, 19)>,
				<NRF_PSEL(QSPI_IO1, 0, 24)>,
				<NRF_PSEL(QSPI_IO2, 0, 23)>,
				<NRF_PSEL(QSPI_IO3, 0, 21)>,
				<NRF_PSEL(QSPI_CSN, 0, 22)>;
			nordic,drive-mode = <NRF_DRIVE_H0H1>;
		};
	};

	qspi_sleep: qspi_sleep {
		group1 {
			psels = <NRF_PSEL(QSPI_SCK, 0, 18)>,
				<NRF_PSEL(QSPI_IO0, 0, 19)>,
				<NRF_PSEL(QSPI_IO1, 0, 24)>,
				<NRF_PSEL(QSPI_IO2, 0, 23)>,
				<NRF_PSEL(QSPI_IO3, 0, 21)>;
			low-power-enable;
		};

		group2 {
			psels = <NRF_PSEL(QSPI_CSN, 0, 22)>;
			low-power-enable;
			bias-pull-up;
		};
	};

	/* GPS module UART -- TX_PIN_NUMBER / RX_PIN_NUMBER. GPS_R/GPS_S/
	 * FIX_PIN (reset/standby/fix-detect) aren't wired up yet -- same
	 * deferral as GPSMGMT's hardware layer in Phase 6. */
	uart1_default: uart1_default {
		group1 {
			psels = <NRF_PSEL(UART_TX, 0, 5)>;
		};
		group2 {
			psels = <NRF_PSEL(UART_RX, 0, 7)>;
			bias-pull-up;
		};
	};

	uart1_sleep: uart1_sleep {
		group1 {
			psels = <NRF_PSEL(UART_TX, 0, 5)>,
				<NRF_PSEL(UART_RX, 0, 7)>;
			low-power-enable;
		};
	};

	/* WS2812 status LED (NEO_PIN) -- MOSI on P1.13 is the one real trace
	 * (custom_board_v3.h's NEO_PIN); Zephyr has no PWM-based WS2812
	 * driver (stravaV10's own drv_ws2812.c used nrfx_pwm directly), so
	 * this drives it via Zephyr's worldsemi,ws2812-spi driver instead --
	 * the standard/only maintained approach for this chip family. SCK
	 * (P1.12) and the CS line (P1.10, in the board .dts) are both
	 * placeholders with no real board trace, same reasoning as the DK
	 * overlay's LS027 pins: the WS2812 only reads MOSI, so an SPI
	 * peripheral's other pins toggling into thin air is harmless, and
	 * Zephyr's SPI framework still wants valid pin assignments for them.
	 */
	spi3_default: spi3_default {
		group1 {
			psels = <NRF_PSEL(SPIM_SCK, 1, 12)>,
				<NRF_PSEL(SPIM_MOSI, 1, 13)>;
		};
	};

	spi3_sleep: spi3_sleep {
		group1 {
			psels = <NRF_PSEL(SPIM_SCK, 1, 12)>,
				<NRF_PSEL(SPIM_MOSI, 1, 13)>;
			low-power-enable;
		};
	};
};
```

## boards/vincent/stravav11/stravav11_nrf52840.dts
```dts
/*
 * Phase 11: first real board definition for the custom stravaV11 PCB
 * (PROTO_V11 / v3 revision, per stravaV10's custom_board.h/custom_board_v3.h
 * -- confirmed with the user as the board actually connected). Same nRF52840
 * SoC as the DK, modeled on nrf52840dk_nrf52840.dts, but every pin
 * assignment below comes from the real PCB (custom_board_v3.h), not the DK's
 * Arduino header -- see stravav11_nrf52840-pinctrl.dtsi.
 *
 * Deliberately not console = a uart: custom_board_v3.h defines only one
 * UART pin pair, dedicated to the GPS module (source/sensors/GPSMGMT.cpp) --
 * there's no separate debug UART broken out on this board. Console/logging
 * goes over RTT instead (see stravav11_nrf52840_defconfig).
 */

/dts-v1/;
#include <nordic/nrf52840_qiaa.dtsi>
#include <nordic/nrf52840_partition.dtsi>
#include <zephyr/dt-bindings/led/led.h>
#include "stravav11_nrf52840-pinctrl.dtsi"

/ {
	model = "stravaV11 custom PCB (PROTO_V11)";
	compatible = "vincent,stravav11-nrf52840";

	chosen {
		zephyr,display = &ls027;
		/* Tells Partition Manager mx25r64 (the real MT25QL128 chip
		 * here) is a valid "external_flash" region -- see the
		 * raw-NOR-disk node near the mx25r64 definition below. */
		nordic,pm-ext-flash = &mx25r64;
	};

	leds {
		compatible = "gpio-leds";

		/* LED_1, P1.04, active low (LEDS_ACTIVE_STATE 0). */
		led0: led_0 {
			gpios = <&gpio1 4 GPIO_ACTIVE_LOW>;
			label = "Status LED";
		};
	};

	buttons {
		compatible = "gpio-keys";

		/* BUTTON_1/2/3, active low with pull-up (BUTTONS_ACTIVE_STATE 0). */
		button0: button_0 {
			gpios = <&gpio0 14 (GPIO_PULL_UP | GPIO_ACTIVE_LOW)>;
			label = "Button 1";
		};

		button1: button_1 {
			gpios = <&gpio0 13 (GPIO_PULL_UP | GPIO_ACTIVE_LOW)>;
			label = "Button 2";
		};

		button2: button_2 {
			gpios = <&gpio0 11 (GPIO_PULL_UP | GPIO_ACTIVE_LOW)>;
			label = "Button 3";
		};
	};

	aliases {
		led0 = &led0;
		sw0 = &button0;
		sw1 = &button1;
		sw2 = &button2;
		watchdog0 = &wdt0;
	};

	/* GPS module control/status GPIOs (GPS_R/GPS_S/FIX_PIN in
	 * custom_board_v3.h), not driven by any code yet -- neither the
	 * unported real GPSMGMT.cpp hardware layer nor this port's
	 * uart_demo() touch them, which is the likely reason the GPS UART
	 * receives unexplained bytes on every boot (see CLAUDE.md Phase 11):
	 * with both left floating/undriven, the module is never actually
	 * held in reset or standby, so it's free to run and transmit on its
	 * own. Polarity (active-low reset/standby, active-high fix) is taken
	 * from the only place in the codebase that encodes it --
	 * TDD/Simulator.cpp only emits NMEA data once
	 * `gpio_get(GPS_R) && gpio_get(GPS_S)` are both high, and drives
	 * FIX_PIN high to signal a fix -- not from any real hardware driver,
	 * since GPSMGMT.cpp's actual pin handling was never ported (Phase 6).
	 */
	zephyr_user: zephyr,user {
		gps-reset-gpios = <&gpio0 3 GPIO_ACTIVE_LOW>;
		gps-standby-gpios = <&gpio1 15 GPIO_ACTIVE_LOW>;
		gps-fix-gpios = <&gpio1 14 GPIO_ACTIVE_HIGH>;
	};
};

&reg0 {
	status = "okay";
};

&reg1 {
	regulator-initial-mode = <NRF5X_REG_MODE_DCDC>;
};

&gpiote {
	status = "okay";
};

&gpio0 {
	status = "okay";
};

&gpio1 {
	status = "okay";
};

/* GPS module (source/sensors/GPSMGMT.cpp), GPS_DEFAULT_SPEED_BAUD.
 * Labeled arduino_serial (not literally an Arduino pin on this board) only
 * so main.c's uart_demo(), written for the DK bring-up build, compiles
 * unchanged against this board too. */
arduino_serial: &uart1 {
	status = "okay";
	current-speed = <9600>;
	pinctrl-0 = <&uart1_default>;
	pinctrl-1 = <&uart1_sleep>;
	pinctrl-names = "default", "sleep";
};

/* Sensor bus: bme280, fxos8700, FRAM (mb85rcxx). STC3100/VEML6075 share
 * this bus too but don't have Zephyr drivers yet -- see CLAUDE.md Phase 3.
 * Labeled arduino_i2c for the same main.c source-compat reason as
 * arduino_serial above -- this is not the Arduino header on this board. */
arduino_i2c: &i2c0 {
	compatible = "nordic,nrf-twi";
	status = "okay";
	pinctrl-0 = <&i2c0_default>;
	pinctrl-1 = <&i2c0_sleep>;
	pinctrl-names = "default", "sleep";

	bme280: bme280@76 {
		compatible = "bosch,bme280";
		reg = <0x76>;
	};

	fxos8700: fxos8700@1e {
		compatible = "nxp,fxos8700";
		reg = <0x1e>;
		/* FXOS_INT1 / FXOS_RST from custom_board_v3.h. */
		int1-gpios = <&gpio1 2 GPIO_ACTIVE_LOW>;
		reset-gpios = <&gpio1 3 GPIO_ACTIVE_HIGH>;
	};

	fram: mb85rc@50 {
		compatible = "fujitsu,mb85rcxx";
		reg = <0x50>;
		size = <2048>;
		address-width = <8>;
	};
};

/* LS027 display, LS027_CS_PIN as a plain GPIO chip-select. Active HIGH,
 * not the more common active-low convention -- zephyr/drivers/display/
 * ls0xx.c hardcodes SPI_CS_ACTIVE_HIGH in its own spi_config, and the
 * DK overlay's own arduino_spi cs-gpios (Phase 2) already got this right;
 * this board's version had it backwards (GPIO_ACTIVE_LOW), corrupting
 * every SPI transaction to the display -- found via real-glass output
 * that looked like noise, not the intended shapes, on the very first
 * physical LS027 this port has ever been visually checked against. */
&spi2 {
	compatible = "nordic,nrf-spi";
	status = "okay";
	cs-gpios = <&gpio0 17 GPIO_ACTIVE_HIGH>;
	pinctrl-0 = <&spi2_default>;
	pinctrl-1 = <&spi2_sleep>;
	pinctrl-names = "default", "sleep";

	/* No VCOM-related properties: VCOM on this board is toggled by a
	 * hardware circuit, not software (confirmed with the user) -- so
	 * neither serial-vcom-inversion (the v3.3.4-only in-band SPI
	 * approach this port used before, which turned out to be
	 * unnecessary all along) nor extcomin-gpios (a dedicated MCU pin
	 * this board doesn't have) apply. ls0xx.c gates all of its VCOM
	 * toggling code behind DT_INST_NODE_HAS_PROP(0, extcomin_gpios); with
	 * neither property present, the driver only ever does plain SPI
	 * content writes and never touches VCOM, which is exactly correct
	 * here. This also means the driver doesn't need the v3.3.4-only
	 * serial-vcom-inversion binding property, so this node works
	 * unmodified on sdk-nrf v3.2.4 too. */
	ls027: ls0xx@0 {
		compatible = "sharp,ls0xx";
		reg = <0>;
		spi-max-frequency = <2000000>;
		width = <400>;
		height = <240>;
	};
};

/* SD card, SDC_CS_PIN as a plain GPIO chip-select. */
sd_spi: &spi1 {
	compatible = "nordic,nrf-spi";
	status = "okay";
	cs-gpios = <&gpio0 26 GPIO_ACTIVE_LOW>;
	pinctrl-0 = <&spi1_default>;
	pinctrl-1 = <&spi1_sleep>;
	pinctrl-names = "default", "sleep";

	sdcard: sdhc@0 {
		compatible = "zephyr,sdhc-spi-slot";
		reg = <0>;
		status = "okay";
		spi-max-frequency = <4000000>;

		sdmmc {
			compatible = "zephyr,sdmmc-disk";
			disk-name = "SD";
			status = "okay";
		};
	};
};

/* External QSPI NOR: MT25QL128 (libraries/SST/mt25.c), JEDEC ID 20 BA 18 --
 * a different chip from the DK's on-board MX25R6435F (Phase 4). Kept
 * single-line SPI mode (default readoc/writeoc, quad-enable-requirements =
 * NONE so the driver never touches the QE bit) for this first bring-up on
 * real, never-before-flashed hardware -- quad I/O is a later optimization,
 * not needed to prove the chip works. */
&qspi {
	status = "okay";
	pinctrl-0 = <&qspi_default>;
	pinctrl-1 = <&qspi_sleep>;
	pinctrl-names = "default", "sleep";

	/* Labeled mx25r64 (the DK's actual chip, not this board's) for the
	 * same main.c source-compat reason as arduino_i2c/arduino_serial
	 * above -- the real chip here is MT25QL128, see jedec-id below. */
	mx25r64: mt25ql128@0 {
		compatible = "nordic,qspi-nor";
		reg = <0>;
		sck-frequency = <8000000>;
		jedec-id = [20 ba 18];
		size = <134217728>;
		quad-enable-requirements = "NONE";
	};
};

/* Raw NOR-as-USB-disk: the chip holds raw data, not a filesystem, so it's
 * exposed as a second, unformatted USB MSC LUN (see usb_demo.c) rather
 * than mounting anything. Needs *two* pieces together: the
 * "nordic,pm-ext-flash" chosen entry above (so PM treats mx25r64 as an
 * "external_flash" region at all) and the pm_static_stravav11_nrf52840.yml
 * partition (region: external_flash, affiliation: disk) that supplies the
 * name, cache_size, sector_size and read_only extra_params flashdisk.c's
 * PM-affiliation code path reads -- a hand-written devicetree
 * fixed-partitions node alone (tried during Phase 4, DK-only at the time)
 * isn't visible to PM's own scan for that half.
 *
 * What that path does NOT get from pm_static.yml, despite being in the
 * "PM" branch: offset/size/area-id. Those come from
 * FIXED_PARTITION_OFFSET/SIZE/ID(n), which -- confirmed by reading
 * flash_map.h -- expand to DT_REG_ADDR/SIZE(DT_NODELABEL(n)), i.e. a
 * plain devicetree lookup, always, regardless of Partition Manager. `n`
 * is the affiliation macro's own uppercased partition-name token
 * (PM_FOREACH_AFFILIATED_TO_disk(fn) = fn(EXTERNAL_FLASH_DISK), confirmed
 * in the build's pm.config) -- so this devicetree node's *label* must be
 * that exact uppercase token for FIXED_PARTITION_SIZE to resolve at all.
 * First attempt used an arbitrary lowercase label + a tiny 0x1000
 * placeholder reg (reasoning: "PM supplies the real numbers") and built
 * clean but silently produced a real, zero-byte USB disk on real
 * hardware (lsblk: "0B") -- DT_NODELABEL of a non-matching label doesn't
 * error, it just resolves to nothing and DT_REG_SIZE of that is 0. Fixed
 * by matching both the label and the reg range to the pm_static.yml
 * partition exactly; the two must be kept in sync by hand since nothing
 * cross-checks them. */
/* Ride-recording feature (2026-09-11 design, see todo.md/CLAUDE.md): the
 * chip's first 10MB is carved off as ride_storage_partition, a plain
 * devicetree fixed-partition with no PM/disk-affiliation involvement at
 * all -- unlike external_flash_disk below, it's never touched by
 * disk_access/flashdisk.c, only by ride_recorder.c's own direct
 * flash_read()/flash_write()/flash_erase() calls (and, at ride-export
 * time, the nrf_qspi_nor XIP memory-mapped read path already validated
 * in Phase 11's qspi_xip_demo()) against FIXED_PARTITION_OFFSET/SIZE, so
 * it needs no matching pm_static.yml entry and no uppercase-token label
 * -- that constraint (see the comment on EXTERNAL_FLASH_DISK below) is
 * specific to PM's disk-affiliation scan, which this partition never
 * goes through. Five 2MB slots inside it (ride_recorder.h's
 * RIDE_SLOT_SIZE), tracked in C, not as five separate DT nodes -- one
 * partition, offsets computed the same way qspi_xip_demo() already
 * computes its own sub-region offset. */
&mx25r64 {
	partitions {
		compatible = "fixed-partitions";
		#address-cells = <1>;
		#size-cells = <1>;

		ride_storage_partition: partition@0 {
			label = "ride_storage";
			reg = <0x0 0xA00000>;
		};

		/* Label and reg MUST match pm_static_stravav11_nrf52840.yml's
		 * external_flash_disk partition (address 0xA00000, size
		 * 0x600000, the remainder after ride_storage_partition above)
		 * -- see the comment above for why. */
		EXTERNAL_FLASH_DISK: partition@A00000 {
			label = "external_flash_disk";
			reg = <0xA00000 0x600000>;
		};
	};
};

/ {
	nor_msc_disk: nor-msc-disk {
		compatible = "zephyr,flash-disk";
		partition = <&EXTERNAL_FLASH_DISK>;
		/* disk-name/cache-size here are unused (see comment above --
		 * flashdisk.c's PM-affiliation path takes the real disk name
		 * from pm_static.yml's extra_params.disk_name instead), kept
		 * only because the devicetree binding requires them. */
		disk-name = "NOR_DT_UNUSED";
		cache-size = <4096>;
	};
};

/* WS2812 status LED (NEO_PIN, stravaV10's drivers/drv_ws2812.c +
 * source/display/notifications.c) -- see the spi3 pinctrl comment for why
 * SPI. Chain length 1: NEO_PIN drives a single status LED on this board,
 * not a strip -- confirm with the user if that assumption is ever wrong,
 * it's a one-line change. spi-one-frame/spi-zero-frame/spi-max-frequency
 * are the exact values from Zephyr's own nrf52-bindings.h sample
 * (samples/drivers/led/led_strip/nrf52-bindings.h) for driving WS2812
 * over SPI on this chip family -- not guessed. color-mapping is GRB,
 * matching both the WS2812 wire protocol standard and stravaV10's own
 * drv_ws2812.c comment ("stored as GRB"). */
&spi3 {
	compatible = "nordic,nrf-spim";
	status = "okay";
	cs-gpios = <&gpio1 10 GPIO_ACTIVE_LOW>; /* unused by WS2812, see pinctrl comment */
	pinctrl-0 = <&spi3_default>;
	pinctrl-1 = <&spi3_sleep>;
	pinctrl-names = "default", "sleep";

	led_strip: ws2812@0 {
		compatible = "worldsemi,ws2812-spi";
		reg = <0>; /* ignored, but necessary for SPI bindings */
		spi-max-frequency = <4000000>;

		chain-length = <1>;
		color-mapping = <LED_COLOR_ID_GREEN LED_COLOR_ID_RED LED_COLOR_ID_BLUE>;
		spi-one-frame = <0x70>;
		spi-zero-frame = <0x40>;
	};
};

/ {
	aliases {
		led-strip = &led_strip;
	};
};

zephyr_udc0: &usbd {
	compatible = "nordic,nrf-usbd";
	status = "okay";

	/* Phase 9 CDC-ACM: usb_demo.c's DEVICE_DT_GET_ONE(zephyr_cdc_acm_uart)
	 * needs this child node, same as the DK overlay. */
	cdc_acm_uart0: cdc_acm_uart0 {
		compatible = "zephyr,cdc-acm-uart";
		label = "stravaV11 CDC-ACM";
	};
};
```

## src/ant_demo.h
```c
#ifndef ANT_DEMO_H_
#define ANT_DEMO_H_

/* Must be called before ble_demo_start() -- see ant_demo.c and prj.conf. */
int ant_demo_start(void);

#endif /* ANT_DEMO_H_ */
```
